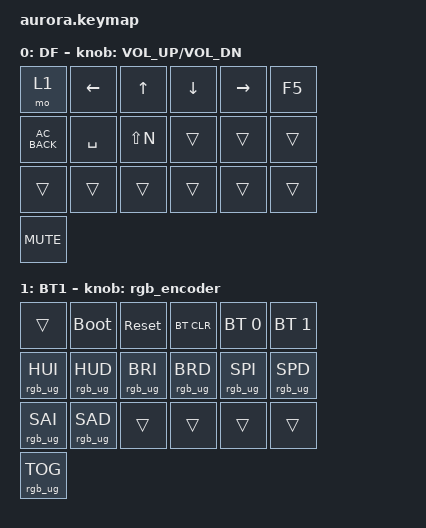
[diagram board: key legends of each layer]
/*
 * Copyright (c) 2023 The ZMK Contributors
 *
 * SPDX-License-Identifier: MIT
 */

#include <behaviors.dtsi>
#include <dt-bindings/zmk/keys.h>
#include <dt-bindings/zmk/bt.h>
#include <dt-bindings/zmk/rgb.h>

/ {
    sensors {
        compatible = "zmk,keymap-sensors";
        sensors = <&encoder_1>;
    };

    behaviors {
        rgb_encoder: rgb_encoder {
            compatible = "zmk,behavior-sensor-rotate";
            label = "RGB_ENCODER";
            #sensor-binding-cells = <0>;
            bindings = <&rgb_ug RGB_EFF>, <&rgb_ug RGB_EFR>;
        };
    };

    keymap {
        compatible = "zmk,keymap";

        default_layer {
            label = "DF";

            sensor-bindings = <&inc_dec_kp C_VOL_UP C_VOL_DN>;

            bindings = <
                &mo 1           &kp LEFT        &kp UP            &kp DOWN        &kp RIGHT       &kp F5
                &kp C_AC_BACK   &kp SPACE       &kp LS(N)         &trans          &trans          &trans
                &trans          &trans          &trans            &trans          &trans          &trans
                &kp C_MUTE
            >;
        };
        
        bt1_layer {
            label = "BT1";
            
            sensor-bindings = <&rgb_encoder>;

            bindings = <
                &trans          &bootloader     &sys_reset      &bt BT_CLR      &bt BT_SEL 0    &bt BT_SEL 1
                &rgb_ug RGB_HUI &rgb_ug RGB_HUD &rgb_ug RGB_BRI &rgb_ug RGB_BRD &rgb_ug RGB_SPI &rgb_ug RGB_SPD
                &rgb_ug RGB_SAI &rgb_ug RGB_SAD &trans          &trans          &trans          &trans
                &rgb_ug RGB_TOG
            >;
        };
    };
};
